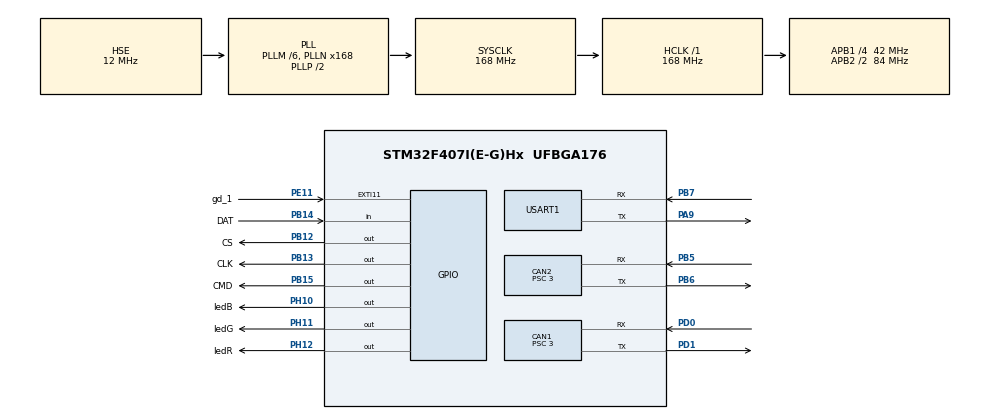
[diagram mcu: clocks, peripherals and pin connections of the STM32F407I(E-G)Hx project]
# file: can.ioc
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CAN1.BS1=CAN_BS1_10TQ
CAN1.BS2=CAN_BS2_3TQ
CAN1.CalculateTimeQuantum=71.42857142857143
CAN1.Prescaler=3
CAN2.BS1=CAN_BS1_10TQ
CAN2.BS2=CAN_BS2_3TQ
CAN2.CalculateTimeQuantum=71.42857142857143
CAN2.Prescaler=3
Mcu.Family=STM32F4
Mcu.Name=STM32F407I(E-G)Hx
Mcu.Package=UFBGA176
NVIC.CAN1_RX0_IRQn=true\:0\:0\:false\:false\:true\:true\:true\:true
NVIC.CAN2_RX0_IRQn=true\:0\:0\:false\:false\:true\:true\:true\:true
NVIC.PriorityGroup=NVIC_PRIORITYGROUP_4
NVIC.TIM2_IRQn=true\:0\:0\:true\:false\:true\:true\:true\:true
NVIC.USART1_IRQn=true\:0\:0\:false\:false\:true\:true\:true\:true
PA13.Mode=Serial_Wire
PA13.Signal=SYS_JTMS-SWDIO
PA14.Mode=Serial_Wire
PA14.Signal=SYS_JTCK-SWCLK
PA9.Mode=Asynchronous
PA9.Signal=USART1_TX
PB12.GPIO_Label=CS
PB12.Signal=GPIO_Output
PB13.GPIO_Label=CLK
PB13.Signal=GPIO_Output
PB14.GPIO_Label=DAT
PB14.GPIO_PuPd=GPIO_PULLDOWN
PB14.Signal=GPIO_Input
PB15.GPIO_Label=CMD
PB15.Signal=GPIO_Output
PB5.Mode=Slave
PB5.Signal=CAN2_RX
PB6.Mode=Slave
PB6.Signal=CAN2_TX
PB7.Mode=Asynchronous
PB7.Signal=USART1_RX
PD0.Mode=Master
PD0.Signal=CAN1_RX
PD1.Mode=Master
PD1.Signal=CAN1_TX
PE11.GPIO_Label=gd_1
PE11.GPIO_PuPd=GPIO_PULLUP
PE11.Signal=GPXTI11
PH0-OSC_IN.Mode=HSE-External-Oscillator
PH0-OSC_IN.Signal=RCC_OSC_IN
PH1-OSC_OUT.Mode=HSE-External-Oscillator
PH1-OSC_OUT.Signal=RCC_OSC_OUT
PH10.GPIO_Label=ledB
PH10.Signal=GPIO_Output
PH11.GPIO_Label=ledG
PH11.Signal=GPIO_Output
PH12.GPIO_Label=ledR
PH12.Signal=GPIO_Output
ProjectManager.HeapSize=0x200
ProjectManager.StackSize=0x400
ProjectManager.TargetToolchain=MDK-ARM V5
RCC.48MHZClocksFreq_Value=84000000
RCC.AHBFreq_Value=168000000
RCC.APB1CLKDivider=RCC_HCLK_DIV4
RCC.APB1Freq_Value=42000000
RCC.APB1TimFreq_Value=84000000
RCC.APB2CLKDivider=RCC_HCLK_DIV2
RCC.APB2Freq_Value=84000000
RCC.APB2TimFreq_Value=168000000
RCC.CortexFreq_Value=168000000
RCC.HCLKFreq_Value=168000000
RCC.HSE_VALUE=12000000
RCC.HSI_VALUE=16000000
RCC.LSE_VALUE=32768
RCC.PLLM=6
RCC.PLLN=168
RCC.PLLSourceVirtual=RCC_PLLSOURCE_HSE
RCC.SYSCLKFreq_VALUE=168000000
RCC.SYSCLKSource=RCC_SYSCLKSOURCE_PLLCLK
RCC.VCOOutputFreq_Value=336000000
TIM2.AutoReloadPreload=TIM_AUTORELOAD_PRELOAD_ENABLE
TIM2.Period=25
TIM2.Prescaler=16799
USART1.VirtualMode=VM_ASYNC
VP_TIM2_VS_ClockSourceINT.Mode=Internal
board=custom

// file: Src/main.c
/* USER CODE BEGIN Header */
/**
******************************************************************************
* @file           : main.c
* @brief          : Main program body
******************************************************************************
* @attention
*
* <h2><center>&copy; Copyright (c) 2019 STMicroelectronics.
* All rights reserved.</center></h2>
*
* This software component is licensed by ST under BSD 3-Clause license,
* the "License"; You may not use this file except in compliance with the
* License. You may obtain a copy of the License at:
*                        opensource.org/licenses/BSD-3-Clause
*
******************************************************************************
*/
/* USER CODE END Header */

#include "main.h"
#include "can.h"
#include "tim.h"
#include "usart.h"
#include "gpio.h"

/* USER CODE BEGIN Includes */
#include "bsp_can.h"
#include "CAN_receive.h"
#include "ps2.h"
#include "pid.h"
#include "usart.h"
#include "mecanum_control.h"
#include <math.h>
#include <string.h>
#include <stdio.h>

/* USER CODE END Includes */

/* USER CODE BEGIN PD */
#define WHEEL_FR 0  // 右前�?
#define WHEEL_FL 1  // 左前�?
#define WHEEL_BL 2  // 左后�?
#define WHEEL_BR 3  // 右后�?
/* USER CODE END PD */

/* USER CODE BEGIN PV */
PID_TypeDef motor_pid[4];
char tx_buffer[1000];
extern TIM_HandleTypeDef htim2;
extern UART_HandleTypeDef huart1;  // 确保你已经在别处定义了这个句�?
extern volatile uint8_t uart_tx_done;
extern void UART1_Send_DMA(uint8_t *buf, uint16_t len);
extern uint8_t g_usart1_receivedata;
extern q_pid speed_pid[4];
volatile uint32_t last_interrupt_time = 0; // 上次中断时间
/* USER CODE END PV */

void SystemClock_Config(void);
/* USER CODE BEGIN PFP */
void UART1_Send_DMA(uint8_t *buf, uint16_t len);
void UART1_Send_IT(uint8_t *buf, uint16_t len);
/* USER CODE END PFP */

/* USER CODE BEGIN 0 */
  //uint8_t move_mode = 0; // 移动模式标志
volatile uint8_t pid_flag = 0; // PID标志
volatile uint8_t stop=1; // 停止标志
//  static uint8_t test_state = 0;  // 0=前进, 1=后退
// static float start_distance = 0.0f;
volatile uint8_t gd_test;

/* USER CODE END 0 */

int main(void)
{

  /* MCU Configuration--------------------------------------------------------*/

  /* Reset of all peripherals, Initializes the Flash interface and the Systick. */
  HAL_Init();

  /* USER CODE BEGIN Init */

//float wheel_speed_FR;
//float wheel_speed_FL;
//float wheel_speed_BL;
//float wheel_speed_BR;
  /* USER CODE END Init */

  /* Configure the system clock */
  SystemClock_Config();

  /* Initialize all configured peripherals */
  MX_GPIO_Init();
  MX_CAN1_Init();
  MX_CAN2_Init();
  MX_USART1_UART_Init();
  MX_TIM2_Init();
  /* USER CODE BEGIN 2 */
HAL_TIM_Base_Start_IT(&htim2);
can_filter_init();
HAL_UART_Receive_IT(&huart1, &g_usart1_receivedata, 1);

  // 修改 PID 初始化代码
//  for (int i = 0; i < 4; i++) {
//    pid_init(&motor_pid[i]);
//    motor_pid[i].f_param_init(&motor_pid[i], PID_Speed, 2000, 300, 10, 10, 2000, 500, 1.5, 0.05, 0.02);
//        // PID模式（位置或速度）、最大输出、积分限幅、死区（绝对值）、控制周期、最大误差、目标值、kp、ki、kd）
//        //开始版本kp=2.5，ki=0.1
//        //初步调试kp=3.7，ki=0.1，kd=0.05
//        //降低参数防止超调：kp=1.5，ki=0.05，kd=0.02，最大输出=2000，积分限幅=300
//    motor_pid[i].target = mecanum.wheel_speed[i];
//  }
for (int i = 0; i < 4; i++)
{
  speed_pid_init(&speed_pid[i]);
  set_speed_pid(&speed_pid[i], 1.5f, 0.4f, 0.2f, 2500.0f, 300.0f,10.0f);
                           //设置kp,   ki,    kd, 最大输出，最大积分， 死区
	                        //初调kp=5.5,ki=0.4,kd=0.2,最大输出2500，积分300，死区10
  speed_pid[i].target = 0.0f; // 初始目标速度为0

}

  angle_controller_init();
  set_angle_pid(50.0f, 0.1f, 0.0f, 2000.0f, 400.0f);
            //设置kp,   ki,   kd,  最大输出，最大积分
	//p50,output1000
	//p60.0f, 0.1f, 0.0f, 1500.0f, 200.0f
  //set_target_angle(0.0f);
  //设置目标角度

  // 初始化麦克纳姆轮控制
  mecanum_init(&mecanum);
  uint32_t last_switch_time = HAL_GetTick();
  HAL_Delay(500); // 等待系统稳定

  /* USER CODE END 2 */

  /* Infinite loop */
  /* USER CODE BEGIN WHILE */
  while (1)
  {
    /*
    static uint32_t last_time = 0;
    static uint8_t demo_state = 0;
    uint32_t current_time = HAL_GetTick();
    */
   // 每秒发送一个字节

//    if(HAL_GetTick() - last_send > 1000)
//    {
//        uint8_t test_byte = 0x55;
//        HAL_UART_Transmit(&huart1, &test_byte, 1, 100);
//        last_send = HAL_GetTick();
//    }
//HAL_Delay(500);
//mecanum_move_forward(&mecanum, 800.0f); // 前进
//HAL_Delay(2000);
//mecanum_move_left(&mecanum, 800.0f);
//HAL_Delay(2000);
//mecanum_move_backward(&mecanum, 800.0f);
//HAL_Delay(2000);
//mecanum_move_right(&mecanum, 800.0f);
//HAL_Delay(2000);

set_target_move_to_target(&mecanum,400.0f,0.0f,0.0f,2000.0f);  //x，y，角度，速度
HAL_Delay(500);
set_target_move_to_target(&mecanum,0.0f,-800.0f,0.0f,2000.0f);
HAL_Delay(500);
set_target_move_to_target(&mecanum,0.0f,-420.0f,0.0f,2000.0f);
HAL_Delay(500);
set_target_move_to_target(&mecanum,1000.0f,0.0f,0.0f,2000.0f);
HAL_Delay(500);
set_target_move_to_target(&mecanum,600.0f,0.0f,0.0f,2000.0f);
HAL_Delay(500);
set_target_move_to_target(&mecanum,0.0f,400.0f,0.0f,2000.0f);
HAL_Delay(500);
set_target_move_to_target(&mecanum,700.0f,0.0f,0.0f,2000.0f);
HAL_Delay(500);
set_target_move_to_target(&mecanum,0.0f,-400.0f,0.0f,2000.0f);
HAL_Delay(500);

while(1)
{
}
/*
HAL_Delay(20);
if (gd_test==0)
{
  HAL_GPIO_TogglePin(ledR_GPIO_Port, ledR_Pin);
  HAL_Delay(100);
  HAL_GPIO_TogglePin(ledR_GPIO_Port, ledR_Pin);
}
if (gd_test==1)
{
	HAL_GPIO_TogglePin(ledB_GPIO_Port, ledB_Pin);
	HAL_Delay(100);
	HAL_GPIO_TogglePin(ledB_GPIO_Port, ledB_Pin);
}
*/

    //向x轴正方向移动1m
    /*
     if (pid_flag)
      {
        pid_flag = 0;  //清除标志位

        // 在主循环中进行PID计算
        for (int i = 0; i < 4; i++)
        {
            const motor_measure_t *motor_data = get_chassis_motor_measure_point(i);
            if (motor_data != NULL) {
                motor_pid[i].f_cal_pid(&motor_pid[i], motor_data->speed_rpm);
            }
        }
      }
*/

    /*
    float distance = mecanum.current_pos.distance;
     float moved_distance = distance - start_distance;

     if (test_state == 0) {  // 前进状态
        if (moved_distance < 5.0f) {
            mecanum_move_forward(&mecanum, 800.0f);
        } else {
            // 前进1米后，准备后退
            test_state = 1;
            start_distance = distance;  // 重新记录起点
        }
    } else {  // 后退状态
        if (fabsf(moved_distance) < 5.0f) {  // 用绝对值
            mecanum_move_backward(&mecanum, 800.0f);
        } else {
            // 后退1米后，准备前进
            test_state = 0;
            start_distance = distance;  // 重新记录起点
        }
    }
        */

     /*
    if(distance < 1.0f)
    {
        mecanum_move_backward(&mecanum, 800.0f);
    }
*/
    /*
 uint32_t now = HAL_GetTick();
    if (now - last_switch_time >= 5000)
    {
        move_mode = (move_mode + 1) % 6; // 0~5循环
        last_switch_time = now;
    }

     switch (move_mode)
    {
      case 0:
            mecanum_move_forward(&mecanum, 800.0f); // 前进
            break;
        case 1:
            mecanum_move_backward(&mecanum, 800.0f); // 后退
            break;
        case 2:
            mecanum_move_left(&mecanum, 800.0f); // 左移
            break;
        case 3:
            mecanum_move_right(&mecanum, 800.0f); // 右移
            break;
        case 4:
            mecanum_rotate_left(&mecanum, 600.0f); // 左转
            break;
        case 5:
            mecanum_rotate_right(&mecanum, 600.0f); // 右转
            break;
    }
		*/

    // 发送电机控制指令（从定时器中断移回主循环）

    // 更新PID控制
    /*
    for (int i = 0; i < 4; i++)
    {
        motor_pid[i].target = mecanum.wheel_speed[i];
        const motor_measure_t *motor_data = get_chassis_motor_measure_point(i);
        if (motor_data) {
            motor_pid[i].f_cal_pid(&motor_pid[i], motor_data->speed_rpm);
        }
    }
    // 发送电机控制指令
    CAN_cmd_chassis(motor_pid[0].output, motor_pid[1].output, motor_pid[2].output, motor_pid[3].output);
    HAL_Delay(10);
    */
    /*
    // VOFA绘图数据发送（只在VOFA模式下发送）
    // 发送8个通道：4个实际速度值 + 4个设定速度值
    float vofa_data[8];
    for (int i = 0; i < 4; i++) {
        vofa_data[i] = (float)get_chassis_motor_measure_point(i)->speed_rpm;     // 实际速度
        vofa_data[i + 4] = (float)motor_pid[i].target;                          // 设定速度
    }
    // 发送浮点数组
    HAL_UART_Transmit(&huart1, (uint8_t*)vofa_data, sizeof(vofa_data), 100);
    // 发送帧尾
    unsigned char tail[4] = {0x00, 0x00, 0x80, 0x7f};
    HAL_UART_Transmit(&huart1, tail, 4, 100);
    HAL_Delay(10); // 延迟10毫秒
    */
    /* USER CODE END WHILE */

  }
}

void SystemClock_Config(void)
{
  RCC_OscInitTypeDef RCC_OscInitStruct = {0};
  RCC_ClkInitTypeDef RCC_ClkInitStruct = {0};

  /** Configure the main internal regulator output voltage
  */
  __HAL_RCC_PWR_CLK_ENABLE();
  __HAL_PWR_VOLTAGESCALING_CONFIG(PWR_REGULATOR_VOLTAGE_SCALE1);
  /** Initializes the CPU, AHB and APB busses clocks
  */
  RCC_OscInitStruct.OscillatorType = RCC_OSCILLATORTYPE_HSE;
  RCC_OscInitStruct.HSEState = RCC_HSE_ON;
  RCC_OscInitStruct.PLL.PLLState = RCC_PLL_ON;
  RCC_OscInitStruct.PLL.PLLSource = RCC_PLLSOURCE_HSE;
  RCC_OscInitStruct.PLL.PLLM = 6;
  RCC_OscInitStruct.PLL.PLLN = 168;
  RCC_OscInitStruct.PLL.PLLP = RCC_PLLP_DIV2;
  RCC_OscInitStruct.PLL.PLLQ = 4;
  if (HAL_RCC_OscConfig(&RCC_OscInitStruct) != HAL_OK)
  {
    Error_Handler();
  }
  /** Initializes the CPU, AHB and APB busses clocks
  */
  RCC_ClkInitStruct.ClockType = RCC_CLOCKTYPE_HCLK|RCC_CLOCKTYPE_SYSCLK
                              |RCC_CLOCKTYPE_PCLK1|RCC_CLOCKTYPE_PCLK2;
  RCC_ClkInitStruct.SYSCLKSource = RCC_SYSCLKSOURCE_PLLCLK;
  RCC_ClkInitStruct.AHBCLKDivider = RCC_SYSCLK_DIV1;
  RCC_ClkInitStruct.APB1CLKDivider = RCC_HCLK_DIV4;
  RCC_ClkInitStruct.APB2CLKDivider = RCC_HCLK_DIV2;

  if (HAL_RCC_ClockConfig(&RCC_ClkInitStruct, FLASH_LATENCY_5) != HAL_OK)
  {
    Error_Handler();
  }
}

/* USER CODE BEGIN 4 */

//static uint32_t timer_count = 0;

void HAL_TIM_PeriodElapsedCallback(TIM_HandleTypeDef *htim)
{
    if (htim == &htim2)
    {

      for (int i = 0; i < 4; i++)
{
  speed_pid[i].target = mecanum.wheel_speed[i];
  const motor_measure_t *motor_data = get_chassis_motor_measure_point(i);
  speed_pid_control(&speed_pid[i], speed_pid[i].target, motor_data->speed_rpm);
}
CAN_cmd_chassis(speed_pid[0].output,speed_pid[1].output,speed_pid[2].output,speed_pid[3].output);

//       pid_flag = 1; // 设置PID计算标志
//       switch(stop)
//       {
//        case 0:
//          break;

//        case 1:
//          stop_all();

//           default:
//                stop = 1; // 默认停止
//                break;
       }
    /*for (int i = 0; i < 4; i++)
    {

        motor_pid[i].target = mecanum.wheel_speed[i];
        const motor_measure_t *motor_data = get_chassis_motor_measure_point(i);

            //motor_pid[i].f_cal_pid(&motor_pid[i], motor_data->speed_rpm); //这句有问题，不能放中断回调里

    }
    CAN_cmd_chassis(motor_pid[0].output, motor_pid[1].output, motor_pid[2].output, motor_pid[3].output);
    // 不在中断里发送CAN指令，移到主循环

    }
*/

}

void HAL_GPIO_EXTI_Callback(uint16_t GPIO_Pin)
{
   uint8_t gd_get;
    if (GPIO_Pin == gd_1_Pin)
    {
         uint32_t current_time = HAL_GetTick();
         if (current_time - last_interrupt_time > 50)
      {
            last_interrupt_time = current_time;

       // 读取引脚状态
        uint8_t gd_get = HAL_GPIO_ReadPin(gd_1_GPIO_Port, gd_1_Pin);
        if (gd_get == GPIO_PIN_RESET) // 按键按下
        {
            gd_test = 0; // 继续运动

        }
        else // 按键释放
        {
           gd_test=1; // 停止运动
        }
      }
    }
}

// 定时器中断回调，定时发�?�VOFA数据（float格式，VOFA可直接画图）
//void HAL_TIM_PeriodElapsedCallback(TIM_HandleTypeDef *htim)
//{
//    if (htim == &htim2)
//    {
//        float vofa_data[4];
//        for (int i = 0; i < 4; i++) {
//            vofa_data[i] = (float)get_chassis_motor_measure_point(i)->speed_rpm;
//        }
//        // 发�??4个float数据到VOFA+
//        HAL_UART_Transmit(&huart1, (uint8_t*)vofa_data, sizeof(vofa_data), 100);
//    }
//}
//void HAL_TIM_PeriodElapsedCallback(TIM_HandleTypeDef *htim)
//{

//if (htim == (&htim2))
//{
//			for(int i=0; i<4; i++)
//{
//  motor_pid[i].target = 1000;
//		const motor_measure_t *motor_data = get_chassis_motor_measure_point(i);
//			motor_pid[i].f_cal_pid(&motor_pid[i],motor_data->speed_rpm);    //根据设定值进行PID计算�?
//}
//CAN_cmd_chassis(motor_pid[0].output,motor_pid[1].output,motor_pid[2].output,motor_pid[3].output);
//}
//}

// ? DMA 发�?�完成回�?
//void USART1_IRQHandler(void)
//{
//    /* TXE 空中�? */
//    if (__HAL_UART_GET_FLAG(&huart1, UART_FLAG_TXE))
//    {
//        if (tx_buf_len > 0)
//        {
//            USART1->DR = *tx_buf_ptr++;   // 发�?�一个字�?
//            tx_buf_len--;
//        }
//        else
//        {
//            /* 发完了，关闭 TXE 中断，防止一直进中断 */
//            __HAL_UART_DISABLE_IT(&huart1, UART_IT_TXE);
//            tx_busy = 0;
//        }
//    }

//    /* 如有 RX 中断，可在此处理 */
//}

// 定时器中断回调，定时发�?�VOFA数据
/*void HAL_TIM_PeriodElapsedCallback(TIM_HandleTypeDef *htim)
{
    if (htim == &htim2)
    {
       char buf[100];
    for (int i = 0; i < 4; i++) {
        int len = snprintf(buf, sizeof(buf), "M%d:%d\r\n", i, get_chassis_motor_measure_point(i)->speed_rpm);
        HAL_UART_Transmit(&huart1, (uint8_t *)buf, len, 100);
   }
    HAL_Delay(500);

    }
}*/
/* USER CODE END 4 */

void Error_Handler(void)
{
}

/************************ (C) COPYRIGHT STMicroelectronics *****END OF FILE****/
